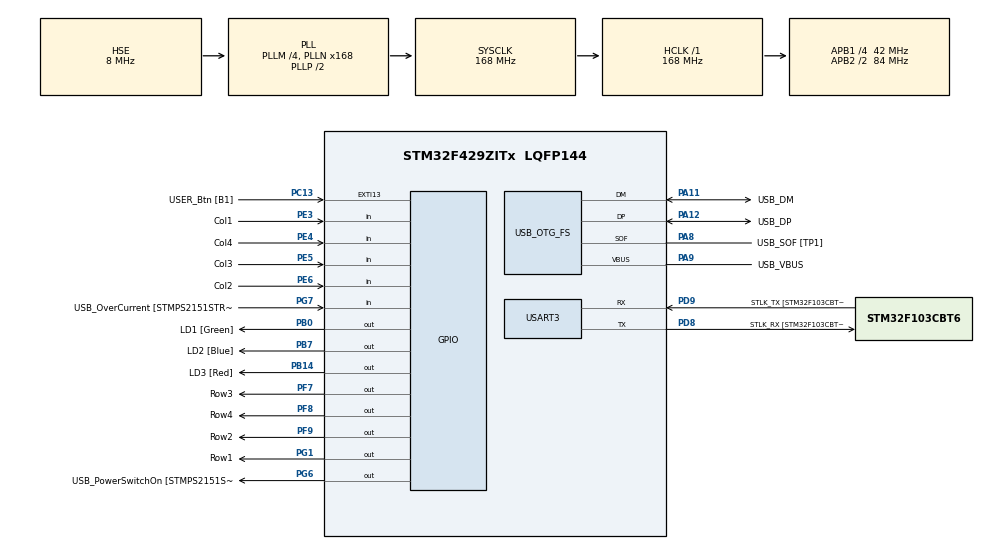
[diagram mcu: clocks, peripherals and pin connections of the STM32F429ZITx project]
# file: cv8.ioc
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Mcu.Family=STM32F4
Mcu.Name=STM32F429ZITx
Mcu.Package=LQFP144
NVIC.PriorityGroup=NVIC_PRIORITYGROUP_4
NVIC.TIM3_IRQn=true\:0\:0\:false\:false\:true\:true\:true\:true
PA1.GPIO_Label=RMII_REF_CLK [LAN8742A-CZ-TR_REFCLK0]
PA1.Signal=ETH_REF_CLK
PA10.GPIO_Label=USB_ID
PA10.Signal=USB_OTG_FS_ID
PA11.GPIO_Label=USB_DM
PA11.Mode=Device_Only
PA11.Signal=USB_OTG_FS_DM
PA12.GPIO_Label=USB_DP
PA12.Mode=Device_Only
PA12.Signal=USB_OTG_FS_DP
PA13.GPIO_Label=TMS
PA13.Mode=Serial_Wire
PA13.Signal=SYS_JTMS-SWDIO
PA14.GPIO_Label=TCK
PA14.Mode=Serial_Wire
PA14.Signal=SYS_JTCK-SWCLK
PA2.GPIO_Label=RMII_MDIO [LAN8742A-CZ-TR_MDIO]
PA2.Signal=ETH_MDIO
PA7.GPIO_Label=RMII_CRS_DV [LAN8742A-CZ-TR_CRS_DV]
PA7.Signal=ETH_CRS_DV
PA8.GPIO_Label=USB_SOF [TP1]
PA8.Mode=Activate_SOF_FS
PA8.Signal=USB_OTG_FS_SOF
PA9.GPIO_Label=USB_VBUS
PA9.Mode=Activate_VBUS
PA9.Signal=USB_OTG_FS_VBUS
PB0.GPIO_Label=LD1 [Green]
PB0.Signal=GPIO_Output
PB13.GPIO_Label=RMII_TXD1 [LAN8742A-CZ-TR_TXD1]
PB13.Signal=ETH_TXD1
PB14.GPIO_Label=LD3 [Red]
PB14.Signal=GPIO_Output
PB7.GPIO_Label=LD2 [Blue]
PB7.Signal=GPIO_Output
PC1.GPIO_Label=RMII_MDC [LAN8742A-CZ-TR_MDC]
PC1.Signal=ETH_MDC
PC13.GPIO_Label=USER_Btn [B1]
PC13.Signal=GPXTI13
PC14/OSC32_IN.Mode=LSE-External-Oscillator
PC14/OSC32_IN.Signal=RCC_OSC32_IN
PC15/OSC32_OUT.Mode=LSE-External-Oscillator
PC15/OSC32_OUT.Signal=RCC_OSC32_OUT
PC4.GPIO_Label=RMII_RXD0 [LAN8742A-CZ-TR_RXD0]
PC4.Signal=ETH_RXD0
PC5.GPIO_Label=RMII_RXD1 [LAN8742A-CZ-TR_RXD1]
PC5.Signal=ETH_RXD1
PD8.GPIO_Label=STLK_RX [STM32F103CBT6_PA3]
PD8.Mode=Asynchronous
PD8.Signal=USART3_TX
PD9.GPIO_Label=STLK_TX [STM32F103CBT6_PA2]
PD9.Mode=Asynchronous
PD9.Signal=USART3_RX
PE3.GPIO_Label=Col1
PE3.GPIO_PuPd=GPIO_PULLUP
PE3.Signal=GPIO_Input
PE4.GPIO_Label=Col4
PE4.GPIO_PuPd=GPIO_PULLUP
PE4.Signal=GPIO_Input
PE5.GPIO_Label=Col3
PE5.GPIO_PuPd=GPIO_PULLUP
PE5.Signal=GPIO_Input
PE6.GPIO_Label=Col2
PE6.GPIO_PuPd=GPIO_PULLUP
PE6.Signal=GPIO_Input
PF7.GPIO_Label=Row3
PF7.GPIO_ModeDefaultOutputPP=GPIO_MODE_OUTPUT_OD
PF7.GPIO_PuPd=GPIO_NOPULL
PF7.Signal=GPIO_Output
PF8.GPIO_Label=Row4
PF8.GPIO_ModeDefaultOutputPP=GPIO_MODE_OUTPUT_OD
PF8.GPIO_PuPd=GPIO_NOPULL
PF8.Signal=GPIO_Output
PF9.GPIO_Label=Row2
PF9.GPIO_ModeDefaultOutputPP=GPIO_MODE_OUTPUT_OD
PF9.GPIO_PuPd=GPIO_NOPULL
PF9.Signal=GPIO_Output
PG1.GPIO_Label=Row1
PG1.GPIO_ModeDefaultOutputPP=GPIO_MODE_OUTPUT_OD
PG1.GPIO_PuPd=GPIO_NOPULL
PG1.Signal=GPIO_Output
PG11.GPIO_Label=RMII_TX_EN [LAN8742A-CZ-TR_TXEN]
PG11.Signal=ETH_TX_EN
PG13.GPIO_Label=RMII_TXD0 [LAN8742A-CZ-TR_TXD0]
PG13.Signal=ETH_TXD0
PG6.GPIO_Label=USB_PowerSwitchOn [STMPS2151STR_EN]
PG6.Signal=GPIO_Output
PG7.GPIO_Label=USB_OverCurrent [STMPS2151STR_FAULT]
PG7.Signal=GPIO_Input
PH0/OSC_IN.GPIO_Label=MCO [STM32F103CBT6_PA8]
PH0/OSC_IN.Mode=HSE-External-Clock-Source
PH0/OSC_IN.Signal=RCC_OSC_IN
PH1/OSC_OUT.Mode=HSE-External-Clock-Source
PH1/OSC_OUT.Signal=RCC_OSC_OUT
ProjectManager.HeapSize=0x200
ProjectManager.StackSize=0x400
ProjectManager.TargetToolchain=STM32CubeIDE
RCC.48MHZClocksFreq_Value=48000000
RCC.AHBFreq_Value=168000000
RCC.APB1CLKDivider=RCC_HCLK_DIV4
RCC.APB1Freq_Value=42000000
RCC.APB1TimFreq_Value=84000000
RCC.APB2CLKDivider=RCC_HCLK_DIV2
RCC.APB2Freq_Value=84000000
RCC.APB2TimCLKDivider=2
RCC.APB2TimFreq_Value=168000000
RCC.CortexFreq_Value=168000000
RCC.HCLKFreq_Value=168000000
RCC.HSE_VALUE=8000000
RCC.HSI_VALUE=16000000
RCC.PLLM=4
RCC.PLLMUL=RCC_PLL_MUL9
RCC.PLLN=168
RCC.PLLQ=7
RCC.PRESCALERUSB=RCC_USBCLKSOURCE_PLL_DIV1_5
RCC.SYSCLKFreq_VALUE=168000000
RCC.SYSCLKSource=RCC_SYSCLKSOURCE_PLLCLK
RCC.SYSCLKSourceVirtual=RCC_SYSCLKSOURCE_PLLCLK
RCC.USBFreq_Value=48000000
RCC.VCOOutputFreq_Value=336000000
TIM3.Period=99
TIM3.Prescaler=8399
USART3.VirtualMode=VM_ASYNC
USB_OTG_FS.VirtualMode=Device_Only
VP_TIM3_VS_ClockSourceINT.Mode=Internal
board=NUCLEO-F429ZI

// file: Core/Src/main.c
/* USER CODE BEGIN Header */
/**
 ******************************************************************************
 * @file           : main.c
 * @brief          : Main program body
 ******************************************************************************
 * @attention
 *
 * Copyright (c) 2025 STMicroelectronics.
 * All rights reserved.
 *
 * This software is licensed under terms that can be found in the LICENSE file
 * in the root directory of this software component.
 * If no LICENSE file comes with this software, it is provided AS-IS.
 *
 ******************************************************************************
 */
/* USER CODE END Header */
#include "main.h"
#include "stdio.h"

TIM_HandleTypeDef htim3;

UART_HandleTypeDef huart3;

PCD_HandleTypeDef hpcd_USB_OTG_FS;

/* USER CODE BEGIN PV */
const char unlock_code[] = { '7', '9', '3', '2', '#' };
#define CODE_LENGTH (sizeof(unlock_code)/sizeof(unlock_code[0]))
uint8_t current_pos = 0;
uint32_t last_input_tick = 0;
#define TIMEOUT_MS 5000

uint8_t unlock_blinking = 0;
uint32_t unlock_start_tick = 0;
static volatile char key = 0;
/* USER CODE END PV */
/* USER CODE END PV */

void SystemClock_Config(void);
static void MX_GPIO_Init(void);
static void MX_USART3_UART_Init(void);
static void MX_USB_OTG_FS_PCD_Init(void);
static void MX_TIM3_Init(void);

int main(void)
{

	/* MCU Configuration--------------------------------------------------------*/

	/* Reset of all peripherals, Initializes the Flash interface and the Systick. */
	HAL_Init();

	/* Configure the system clock */
	SystemClock_Config();

	/* Initialize all configured peripherals */
	MX_GPIO_Init();
	MX_USART3_UART_Init();
	MX_USB_OTG_FS_PCD_Init();
	MX_TIM3_Init();
	/* USER CODE BEGIN 2 */
	HAL_TIM_Base_Start_IT(&htim3);
	/* USER CODE END 2 */

	/* Infinite loop */
	/* USER CODE BEGIN WHILE */
	while (1)
	{

		HAL_GPIO_TogglePin(LD1_GPIO_Port, LD1_Pin);
		HAL_Delay(250);

		if(key != 0)
		{
			printf("pressed '%c'\n", key);

			if(key == unlock_code[current_pos])
			{
				current_pos++;
				last_input_tick = HAL_GetTick();
				printf("Correct position: %d\n", current_pos);

				if(current_pos == CODE_LENGTH)
				{
					HAL_GPIO_WritePin(LD1_GPIO_Port, LD1_Pin, GPIO_PIN_SET); // LED ON
					printf("Code unlocked!\n");
					current_pos = 0; // reset pro další pokusy
				}
			}
			else
			{
				printf("Wrong input, reset position\n");
				current_pos = 0;
			}
			HAL_Delay(500);
			key = 0;
		}
		if((HAL_GetTick() - last_input_tick) > TIMEOUT_MS)
		{
			HAL_GPIO_WritePin(LD1_GPIO_Port, LD1_Pin, GPIO_PIN_RESET);
			current_pos = 0;
		}
		/* USER CODE END 3 */
	}
}
void SystemClock_Config(void)
{
	RCC_OscInitTypeDef RCC_OscInitStruct = {0};
	RCC_ClkInitTypeDef RCC_ClkInitStruct = {0};

	/** Configure the main internal regulator output voltage
	 */
	__HAL_RCC_PWR_CLK_ENABLE();
	__HAL_PWR_VOLTAGESCALING_CONFIG(PWR_REGULATOR_VOLTAGE_SCALE1);

	/** Initializes the RCC Oscillators according to the specified parameters
	 * in the RCC_OscInitTypeDef structure.
	 */
	RCC_OscInitStruct.OscillatorType = RCC_OSCILLATORTYPE_HSE;
	RCC_OscInitStruct.HSEState = RCC_HSE_BYPASS;
	RCC_OscInitStruct.PLL.PLLState = RCC_PLL_ON;
	RCC_OscInitStruct.PLL.PLLSource = RCC_PLLSOURCE_HSE;
	RCC_OscInitStruct.PLL.PLLM = 4;
	RCC_OscInitStruct.PLL.PLLN = 168;
	RCC_OscInitStruct.PLL.PLLP = RCC_PLLP_DIV2;
	RCC_OscInitStruct.PLL.PLLQ = 7;
	if (HAL_RCC_OscConfig(&RCC_OscInitStruct) != HAL_OK)
	{
		Error_Handler();
	}

	/** Initializes the CPU, AHB and APB buses clocks
	 */
	RCC_ClkInitStruct.ClockType = RCC_CLOCKTYPE_HCLK|RCC_CLOCKTYPE_SYSCLK
			|RCC_CLOCKTYPE_PCLK1|RCC_CLOCKTYPE_PCLK2;
	RCC_ClkInitStruct.SYSCLKSource = RCC_SYSCLKSOURCE_PLLCLK;
	RCC_ClkInitStruct.AHBCLKDivider = RCC_SYSCLK_DIV1;
	RCC_ClkInitStruct.APB1CLKDivider = RCC_HCLK_DIV4;
	RCC_ClkInitStruct.APB2CLKDivider = RCC_HCLK_DIV2;

	if (HAL_RCC_ClockConfig(&RCC_ClkInitStruct, FLASH_LATENCY_5) != HAL_OK)
	{
		Error_Handler();
	}
}

static void MX_TIM3_Init(void)
{

	TIM_ClockConfigTypeDef sClockSourceConfig = {0};
	TIM_MasterConfigTypeDef sMasterConfig = {0};

	htim3.Instance = TIM3;
	htim3.Init.Prescaler = 8399;
	htim3.Init.CounterMode = TIM_COUNTERMODE_UP;
	htim3.Init.Period = 99;
	htim3.Init.ClockDivision = TIM_CLOCKDIVISION_DIV1;
	htim3.Init.AutoReloadPreload = TIM_AUTORELOAD_PRELOAD_DISABLE;
	if (HAL_TIM_Base_Init(&htim3) != HAL_OK)
	{
		Error_Handler();
	}
	sClockSourceConfig.ClockSource = TIM_CLOCKSOURCE_INTERNAL;
	if (HAL_TIM_ConfigClockSource(&htim3, &sClockSourceConfig) != HAL_OK)
	{
		Error_Handler();
	}
	sMasterConfig.MasterOutputTrigger = TIM_TRGO_RESET;
	sMasterConfig.MasterSlaveMode = TIM_MASTERSLAVEMODE_DISABLE;
	if (HAL_TIMEx_MasterConfigSynchronization(&htim3, &sMasterConfig) != HAL_OK)
	{
		Error_Handler();
	}

}

static void MX_USART3_UART_Init(void)
{

	huart3.Instance = USART3;
	huart3.Init.BaudRate = 115200;
	huart3.Init.WordLength = UART_WORDLENGTH_8B;
	huart3.Init.StopBits = UART_STOPBITS_1;
	huart3.Init.Parity = UART_PARITY_NONE;
	huart3.Init.Mode = UART_MODE_TX_RX;
	huart3.Init.HwFlowCtl = UART_HWCONTROL_NONE;
	huart3.Init.OverSampling = UART_OVERSAMPLING_16;
	if (HAL_UART_Init(&huart3) != HAL_OK)
	{
		Error_Handler();
	}

}

static void MX_USB_OTG_FS_PCD_Init(void)
{

	hpcd_USB_OTG_FS.Instance = USB_OTG_FS;
	hpcd_USB_OTG_FS.Init.dev_endpoints = 4;
	hpcd_USB_OTG_FS.Init.speed = PCD_SPEED_FULL;
	hpcd_USB_OTG_FS.Init.dma_enable = DISABLE;
	hpcd_USB_OTG_FS.Init.phy_itface = PCD_PHY_EMBEDDED;
	hpcd_USB_OTG_FS.Init.Sof_enable = ENABLE;
	hpcd_USB_OTG_FS.Init.low_power_enable = DISABLE;
	hpcd_USB_OTG_FS.Init.lpm_enable = DISABLE;
	hpcd_USB_OTG_FS.Init.vbus_sensing_enable = ENABLE;
	hpcd_USB_OTG_FS.Init.use_dedicated_ep1 = DISABLE;
	if (HAL_PCD_Init(&hpcd_USB_OTG_FS) != HAL_OK)
	{
		Error_Handler();
	}

}

static void MX_GPIO_Init(void)
{
	GPIO_InitTypeDef GPIO_InitStruct = {0};

	/* GPIO Ports Clock Enable */
	__HAL_RCC_GPIOE_CLK_ENABLE();
	__HAL_RCC_GPIOC_CLK_ENABLE();
	__HAL_RCC_GPIOF_CLK_ENABLE();
	__HAL_RCC_GPIOH_CLK_ENABLE();
	__HAL_RCC_GPIOA_CLK_ENABLE();
	__HAL_RCC_GPIOB_CLK_ENABLE();
	__HAL_RCC_GPIOG_CLK_ENABLE();
	__HAL_RCC_GPIOD_CLK_ENABLE();

	/*Configure GPIO pin Output Level */
	HAL_GPIO_WritePin(GPIOF, Row3_Pin|Row4_Pin|Row2_Pin, GPIO_PIN_RESET);

	/*Configure GPIO pin Output Level */
	HAL_GPIO_WritePin(GPIOB, LD1_Pin|LD3_Pin|LD2_Pin, GPIO_PIN_RESET);

	/*Configure GPIO pin Output Level */
	HAL_GPIO_WritePin(GPIOG, Row1_Pin|USB_PowerSwitchOn_Pin, GPIO_PIN_RESET);

	/*Configure GPIO pins : Col1_Pin Col4_Pin Col3_Pin Col2_Pin */
	GPIO_InitStruct.Pin = Col1_Pin|Col4_Pin|Col3_Pin|Col2_Pin;
	GPIO_InitStruct.Mode = GPIO_MODE_INPUT;
	GPIO_InitStruct.Pull = GPIO_PULLUP;
	HAL_GPIO_Init(GPIOE, &GPIO_InitStruct);

	/*Configure GPIO pin : USER_Btn_Pin */
	GPIO_InitStruct.Pin = USER_Btn_Pin;
	GPIO_InitStruct.Mode = GPIO_MODE_IT_RISING;
	GPIO_InitStruct.Pull = GPIO_NOPULL;
	HAL_GPIO_Init(USER_Btn_GPIO_Port, &GPIO_InitStruct);

	/*Configure GPIO pins : Row3_Pin Row4_Pin Row2_Pin */
	GPIO_InitStruct.Pin = Row3_Pin|Row4_Pin|Row2_Pin;
	GPIO_InitStruct.Mode = GPIO_MODE_OUTPUT_OD;
	GPIO_InitStruct.Pull = GPIO_NOPULL;
	GPIO_InitStruct.Speed = GPIO_SPEED_FREQ_LOW;
	HAL_GPIO_Init(GPIOF, &GPIO_InitStruct);

	/*Configure GPIO pins : RMII_MDC_Pin RMII_RXD0_Pin RMII_RXD1_Pin */
	GPIO_InitStruct.Pin = RMII_MDC_Pin|RMII_RXD0_Pin|RMII_RXD1_Pin;
	GPIO_InitStruct.Mode = GPIO_MODE_AF_PP;
	GPIO_InitStruct.Pull = GPIO_NOPULL;
	GPIO_InitStruct.Speed = GPIO_SPEED_FREQ_VERY_HIGH;
	GPIO_InitStruct.Alternate = GPIO_AF11_ETH;
	HAL_GPIO_Init(GPIOC, &GPIO_InitStruct);

	/*Configure GPIO pins : RMII_REF_CLK_Pin RMII_MDIO_Pin RMII_CRS_DV_Pin */
	GPIO_InitStruct.Pin = RMII_REF_CLK_Pin|RMII_MDIO_Pin|RMII_CRS_DV_Pin;
	GPIO_InitStruct.Mode = GPIO_MODE_AF_PP;
	GPIO_InitStruct.Pull = GPIO_NOPULL;
	GPIO_InitStruct.Speed = GPIO_SPEED_FREQ_VERY_HIGH;
	GPIO_InitStruct.Alternate = GPIO_AF11_ETH;
	HAL_GPIO_Init(GPIOA, &GPIO_InitStruct);

	/*Configure GPIO pins : LD1_Pin LD3_Pin LD2_Pin */
	GPIO_InitStruct.Pin = LD1_Pin|LD3_Pin|LD2_Pin;
	GPIO_InitStruct.Mode = GPIO_MODE_OUTPUT_PP;
	GPIO_InitStruct.Pull = GPIO_NOPULL;
	GPIO_InitStruct.Speed = GPIO_SPEED_FREQ_LOW;
	HAL_GPIO_Init(GPIOB, &GPIO_InitStruct);

	/*Configure GPIO pin : Row1_Pin */
	GPIO_InitStruct.Pin = Row1_Pin;
	GPIO_InitStruct.Mode = GPIO_MODE_OUTPUT_OD;
	GPIO_InitStruct.Pull = GPIO_NOPULL;
	GPIO_InitStruct.Speed = GPIO_SPEED_FREQ_LOW;
	HAL_GPIO_Init(Row1_GPIO_Port, &GPIO_InitStruct);

	/*Configure GPIO pin : RMII_TXD1_Pin */
	GPIO_InitStruct.Pin = RMII_TXD1_Pin;
	GPIO_InitStruct.Mode = GPIO_MODE_AF_PP;
	GPIO_InitStruct.Pull = GPIO_NOPULL;
	GPIO_InitStruct.Speed = GPIO_SPEED_FREQ_VERY_HIGH;
	GPIO_InitStruct.Alternate = GPIO_AF11_ETH;
	HAL_GPIO_Init(RMII_TXD1_GPIO_Port, &GPIO_InitStruct);

	/*Configure GPIO pin : USB_PowerSwitchOn_Pin */
	GPIO_InitStruct.Pin = USB_PowerSwitchOn_Pin;
	GPIO_InitStruct.Mode = GPIO_MODE_OUTPUT_PP;
	GPIO_InitStruct.Pull = GPIO_NOPULL;
	GPIO_InitStruct.Speed = GPIO_SPEED_FREQ_LOW;
	HAL_GPIO_Init(USB_PowerSwitchOn_GPIO_Port, &GPIO_InitStruct);

	/*Configure GPIO pin : USB_OverCurrent_Pin */
	GPIO_InitStruct.Pin = USB_OverCurrent_Pin;
	GPIO_InitStruct.Mode = GPIO_MODE_INPUT;
	GPIO_InitStruct.Pull = GPIO_NOPULL;
	HAL_GPIO_Init(USB_OverCurrent_GPIO_Port, &GPIO_InitStruct);

	/*Configure GPIO pins : RMII_TX_EN_Pin RMII_TXD0_Pin */
	GPIO_InitStruct.Pin = RMII_TX_EN_Pin|RMII_TXD0_Pin;
	GPIO_InitStruct.Mode = GPIO_MODE_AF_PP;
	GPIO_InitStruct.Pull = GPIO_NOPULL;
	GPIO_InitStruct.Speed = GPIO_SPEED_FREQ_VERY_HIGH;
	GPIO_InitStruct.Alternate = GPIO_AF11_ETH;
	HAL_GPIO_Init(GPIOG, &GPIO_InitStruct);

}

/* USER CODE BEGIN 4 */
int __io_putchar(int ch)
{
	ITM_SendChar(ch);
	return 0;
}

void HAL_TIM_PeriodElapsedCallback(TIM_HandleTypeDef *htim)
{
	static uint8_t row = 0;
	static const char keyboard[4][4] = {
			{ '1', '2', '3', 'A' },
			{ '4', '5', '6', 'B' },
			{ '7', '8', '9', 'C' },
			{ '*', '0', '#', 'D' }
	};

	if(htim->Instance == TIM3)
	{
		// pokud není žádná klávesa stisknutá
		if(key == 0) {
			if(HAL_GPIO_ReadPin(Col1_GPIO_Port, Col1_Pin) == GPIO_PIN_RESET) key = keyboard[row][0];
			if(HAL_GPIO_ReadPin(Col2_GPIO_Port, Col2_Pin) == GPIO_PIN_RESET) key = keyboard[row][1];
			if(HAL_GPIO_ReadPin(Col3_GPIO_Port, Col3_Pin) == GPIO_PIN_RESET) key = keyboard[row][2];
			if(HAL_GPIO_ReadPin(Col4_GPIO_Port, Col4_Pin) == GPIO_PIN_RESET) key = keyboard[row][3];
		}

		// reset všech řádků
		HAL_GPIO_WritePin(Row1_GPIO_Port, Row1_Pin, GPIO_PIN_SET);
		HAL_GPIO_WritePin(Row2_GPIO_Port, Row2_Pin, GPIO_PIN_SET);
		HAL_GPIO_WritePin(Row3_GPIO_Port, Row3_Pin, GPIO_PIN_SET);
		HAL_GPIO_WritePin(Row4_GPIO_Port, Row4_Pin, GPIO_PIN_SET);

		// aktivace dalšího řádku
		switch(row)
		{
		case 0:
			row = 1;
			HAL_GPIO_WritePin(Row2_GPIO_Port, Row2_Pin, GPIO_PIN_RESET);
			break;
		case 1:
			row = 2;
			HAL_GPIO_WritePin(Row3_GPIO_Port, Row3_Pin, GPIO_PIN_RESET);
			break;
		case 2:
			row = 3;
			HAL_GPIO_WritePin(Row4_GPIO_Port, Row4_Pin, GPIO_PIN_RESET);
			break;
		case 3:
			row = 0;
			HAL_GPIO_WritePin(Row1_GPIO_Port, Row1_Pin, GPIO_PIN_RESET);
			break;
		}
	}
}
/* USER CODE END 4 */

void Error_Handler(void)
{
	__disable_irq();
	while (1)
	{
	}
}
